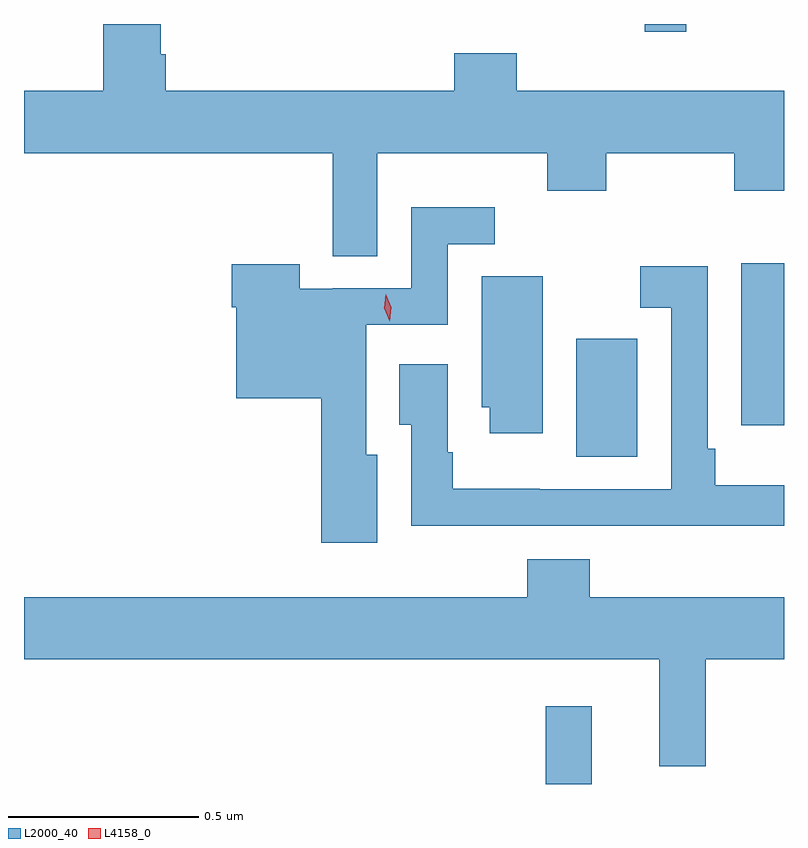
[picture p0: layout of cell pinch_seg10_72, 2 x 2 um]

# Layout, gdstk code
import gdstk
lib = gdstk.Library(unit=1e-6, precision=1e-09)
def R(c, l, rs):  # rectangles x0, y0, x1, y1
    for r in rs: c.add(gdstk.rectangle(r[:2], r[2:], *l))
def P(c, l, *ps):  # polygons
    for p in ps: c.add(gdstk.Polygon(p, *l))
L2000_40 = (2000, 40)
L4158_0 = (4158, 0)

pinch_seg10_72 = lib.new_cell('pinch_seg10_72')
R(pinch_seg10_72, L2000_40, [(823.5,1319.968,823.621,1320.172), (823.58,1320.829,823.741,1321.14), (824.015,1320.912,824.127,1321.339), (823.761,1321.947,823.87,1321.968)])
P(pinch_seg10_72, L2000_40, [(823.057,1321.628),(823.504,1321.628),(823.504,1321.529),(823.659,1321.529),(823.659,1321.628),(823.996,1321.628),(823.996,1321.529),(824.127,1321.529),(824.127,1321.792),(823.424,1321.792),(823.424,1321.891),(823.259,1321.891),(823.259,1321.792),(822.5,1321.792),(822.5,1321.888),(822.487,1321.888),(822.487,1321.968),(822.335,1321.968),(822.335,1321.792),(822.127,1321.792),(822.127,1321.628),(822.939,1321.628),(822.939,1321.357),(823.057,1321.357)],
  [(823.057,1320.835),(823.027,1320.835),(823.027,1321.176),(823.242,1321.176),(823.242,1321.389),(823.366,1321.389),(823.366,1321.486),(823.146,1321.486),(823.146,1321.272),(822.94,1321.272),(822.94,1321.271),(822.852,1321.271),(822.852,1321.336),(822.674,1321.336),(822.674,1321.223),(822.686,1321.223),(822.686,1320.983),(822.909,1320.983),(822.909,1320.603),(823.057,1320.603)],
  [(823.367,1320.648),(823.733,1320.648),(823.733,1320.647),(824.127,1320.647),(824.127,1320.754),(823.946,1320.754),(823.946,1320.85),(823.926,1320.85),(823.926,1321.33),(823.749,1321.33),(823.749,1321.221),(823.83,1321.221),(823.83,1320.744),(823.484,1320.744),(823.484,1320.745),(823.255,1320.745),(823.255,1320.841),(823.242,1320.841),(823.242,1321.072),(823.115,1321.072),(823.115,1320.913),(823.146,1320.913),(823.146,1320.647),(823.367,1320.647)],
  [(823.492,1321.304),(823.331,1321.304),(823.331,1320.96),(823.352,1320.96),(823.352,1320.891),(823.492,1320.891)],
  [(823.921,1320.296),(824.127,1320.296),(824.127,1320.46),(823.616,1320.46),(823.616,1320.559),(823.451,1320.559),(823.451,1320.46),(822.127,1320.46),(822.127,1320.296),(823.799,1320.296),(823.799,1320.015),(823.921,1320.015)])
P(pinch_seg10_72, L4158_0, [(823.09,1321.186),(823.09,1321.186),(823.075,1321.22),(823.079,1321.257),(823.079,1321.257),(823.079,1321.257),(823.094,1321.223),(823.09,1321.186)])

lib.write_gds('pinch_seg10_72.gds')
